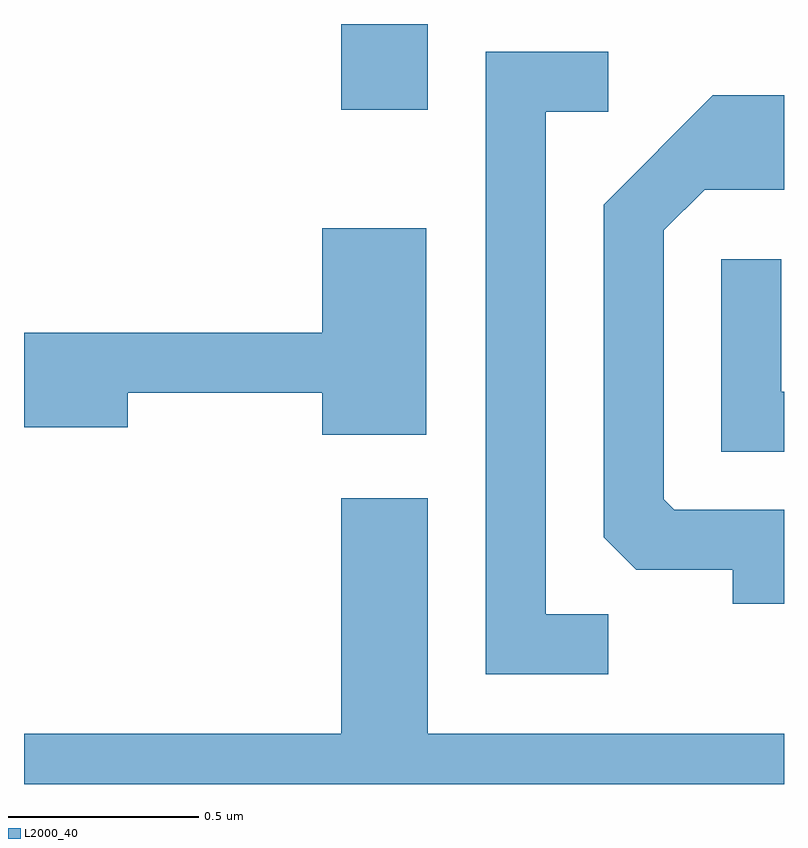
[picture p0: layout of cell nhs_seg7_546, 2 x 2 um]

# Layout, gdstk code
import gdstk
lib = gdstk.Library(unit=1e-6, precision=1e-09)
def R(c, l, rs):  # rectangles x0, y0, x1, y1
    for r in rs: c.add(gdstk.rectangle(r[:2], r[2:], *l))
def P(c, l, *ps):  # polygons
    for p in ps: c.add(gdstk.Polygon(p, *l))
L2000_40 = (2000, 40)

nhs_seg7_546 = lib.new_cell('nhs_seg7_546')
R(nhs_seg7_546, L2000_40, [(189.446,1805.026,189.674,1805.252)])
P(nhs_seg7_546, L2000_40, [(190.148,1803.699),(189.984,1803.699),(189.984,1805.021),(190.148,1805.021),(190.148,1805.179),(189.826,1805.179),(189.826,1803.541),(190.148,1803.541)],
  [(190.611,1803.974),(190.322,1803.974),(190.294,1804.002),(190.294,1804.709),(190.402,1804.816),(190.611,1804.816),(190.611,1805.064),(190.424,1805.064),(190.136,1804.777),(190.136,1803.902),(190.222,1803.816),(190.476,1803.816),(190.476,1803.726),(190.611,1803.726)],
  [(189.669,1804.714),(189.396,1804.714),(189.396,1804.439),(188.611,1804.439),(188.611,1804.191),(188.884,1804.191),(188.884,1804.281),(189.396,1804.281),(189.396,1804.171),(189.669,1804.171)],
  [(190.611,1804.284),(190.604,1804.284),(190.604,1804.633),(190.446,1804.633),(190.446,1804.126),(190.611,1804.126)],
  [(190.611,1803.384),(189.674,1803.384),(189.674,1804.004),(189.446,1804.004),(189.446,1803.384),(188.611,1803.384),(188.611,1803.252),(190.611,1803.252)])

lib.write_gds('nhs_seg7_546.gds')
